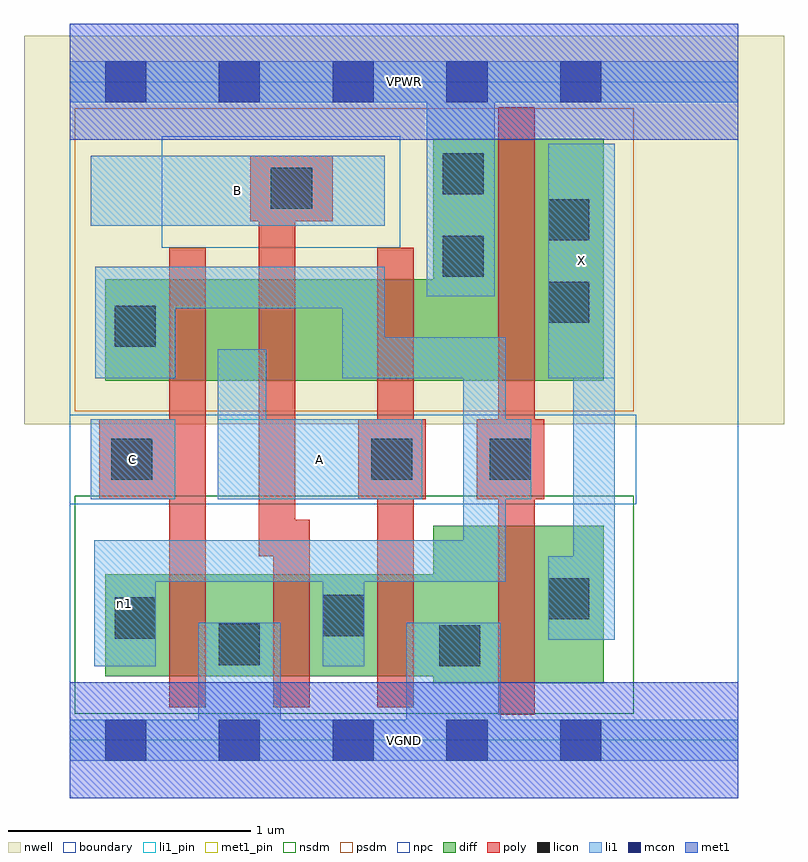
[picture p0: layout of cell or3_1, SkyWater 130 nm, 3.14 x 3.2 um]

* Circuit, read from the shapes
.subckt or3_1 A B C VGND VPWR X n1
XM1 VGND C n1 VSUBS sky130_fd_pr__nfet_01v8 w=0.42 l=0.15
XM2 n1 B VGND VSUBS sky130_fd_pr__nfet_01v8 w=0.42 l=0.15
XM3 VGND A n1 VSUBS sky130_fd_pr__nfet_01v8 w=0.42 l=0.15
XM4 X n1 VGND VSUBS sky130_fd_pr__nfet_01v8 w=0.65 l=0.15
XM5 n2 C n1 n3 sky130_fd_pr__pfet_01v8 w=0.42 l=0.15
XM6 n4 B n2 n3 sky130_fd_pr__pfet_01v8 w=0.42 l=0.15
XM7 VPWR A n4 n3 sky130_fd_pr__pfet_01v8 w=0.42 l=0.15
XM8 X n1 VPWR n3 sky130_fd_pr__pfet_01v8 w=1 l=0.15
.ends

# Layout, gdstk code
import gdstk
lib = gdstk.Library(unit=1e-6, precision=1e-09)
def R(c, l, rs):  # rectangles x0, y0, x1, y1
    for r in rs: c.add(gdstk.rectangle(r[:2], r[2:], *l))
def A(c, l, x, y, w, h, nx, ny, dx, dy):  # array of equal rectangles
    R(c, l, [(x+i*dx, y+j*dy, x+i*dx+w, y+j*dy+h) for i in range(nx) for j in range(ny)])
nwell = (64, 20)
diff = (65, 20)
poly = (66, 20)
licon = (66, 44)
li1_pin = (67, 16)
li1 = (67, 20)
mcon = (67, 44)
met1_pin = (68, 16)
met1 = (68, 20)
nsdm = (93, 44)
psdm = (94, 20)
npc = (95, 20)
boundary = (235, 4)

or3_1 = lib.new_cell('or3_1')
R(or3_1, nwell, [(-0.19,1.305,2.95,2.91), (0,1.305,2.76,2.91)])
R(or3_1, diff, [(1.5,0.235,2.205,0.885), (0.145,0.265,2.205,0.685), (0.145,1.485,2.205,1.905), (1.5,1.485,2.205,2.485)])
R(or3_1, poly, [(1.77,0.105,1.92,2.615), (0.41,0.135,0.56,2.035), (0.84,0.135,0.99,0.91), (1.27,0.135,1.42,2.035), (0.78,0.76,0.93,2.415), (0.12,0.995,0.56,1.325), (1.19,0.995,1.47,1.325), (1.68,0.995,1.96,1.325), (0.745,2.145,1.085,2.415)])
R(or3_1, licon, [(1.525,0.305,1.695,0.475), (0.615,0.31,0.785,0.48), (0.185,0.42,0.355,0.59), (1.045,0.43,1.215,0.6), (1.975,0.5,2.145,0.67), (0.17,1.075,0.34,1.245), (1.245,1.075,1.415,1.245), (1.735,1.075,1.905,1.245), (0.185,1.625,0.355,1.795), (1.975,1.725,2.145,1.895), (1.54,1.915,1.71,2.085), (1.975,2.065,2.145,2.235), (0.83,2.195,1,2.365), (1.54,2.255,1.71,2.425)])
R(or3_1, li1_pin, [(0.085,0.995,0.435,1.325), (0.61,0.995,1.455,1.325), (1.975,1.495,2.25,2.465), (0.085,2.125,1.3,2.415)])
R(or3_1, li1, [(0,-0.085,2.76,0.085), (0.53,-0.085,0.87,0.485), (1.39,-0.085,1.78,0.485), (0.1,0.305,0.355,0.825), (1.045,0.305,1.215,0.825), (1.975,0.415,2.25,0.76), (2.08,0.415,2.25,2.465), (0.1,0.655,1.8,0.825), (1.625,0.655,1.8,1.665), (0.085,0.995,0.435,1.325), (0.61,0.995,1.455,1.325), (0.61,0.995,0.81,1.615), (1.625,0.995,1.905,1.325), (0.105,1.495,0.435,1.955), (1.125,1.495,1.8,1.665), (1.125,1.495,1.3,1.955), (1.975,1.495,2.25,2.465), (0.105,1.785,1.3,1.955), (1.475,1.835,1.755,2.805), (0.085,2.125,1.3,2.415), (0,2.635,2.76,2.805)])
A(or3_1, mcon, 0.145, -0.085, 0.17, 0.17, 5, 2, 0.47, 2.72)
R(or3_1, met1_pin, [(0,-0.24,2.76,0.24), (0,2.48,2.76,2.96)])
R(or3_1, met1, [(0,-0.24,2.76,0.24), (0,2.48,2.76,2.96)])
R(or3_1, nsdm, [(0.02,0.11,2.33,1.01)])
R(or3_1, psdm, [(0.02,1.36,2.33,2.61)])
R(or3_1, npc, [(0,0.975,2.34,1.345), (0.38,2.035,1.365,2.495)])
R(or3_1, boundary, [(0,0,2.76,2.72)])
or3_1.add(gdstk.Label('A', (1.032,1.16), layer=67, texttype=5))
or3_1.add(gdstk.Label('B', (0.692,2.27), layer=67, texttype=5))
or3_1.add(gdstk.Label('C', (0.26,1.16), layer=67, texttype=5))
or3_1.add(gdstk.Label('X', (2.112,1.98), layer=67, texttype=5))
or3_1.add(gdstk.Label('n1', (0.227,0.565), layer=67, texttype=5))
or3_1.add(gdstk.Label('VPWR', (1.38,2.72), layer=68, texttype=5))
or3_1.add(gdstk.Label('VGND', (1.38,0), layer=68, texttype=5))
or3_1.add(gdstk.Label('A', (1.032,1.16), layer=67, texttype=16))
or3_1.add(gdstk.Label('B', (0.692,2.27), layer=67, texttype=16))
or3_1.add(gdstk.Label('C', (0.26,1.16), layer=67, texttype=16))
or3_1.add(gdstk.Label('X', (2.112,1.98), layer=67, texttype=16))
or3_1.add(gdstk.Label('VPWR', (1.38,2.72), layer=68, texttype=16))
or3_1.add(gdstk.Label('VGND', (1.38,0), layer=68, texttype=16))

lib.write_gds('or3_1.gds')
